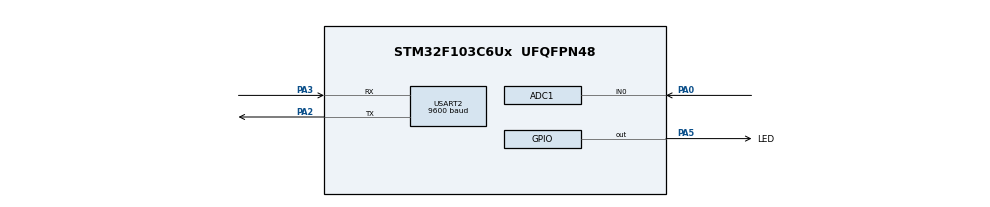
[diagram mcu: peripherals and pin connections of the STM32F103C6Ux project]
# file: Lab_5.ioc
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ADC1.Channel-1\#ChannelRegularConversion=ADC_CHANNEL_0
ADC1.ContinuousConvMode=ENABLE
ADC1.NbrOfConversionFlag=1
ADC1.Rank-1\#ChannelRegularConversion=1
ADC1.SamplingTime-1\#ChannelRegularConversion=ADC_SAMPLETIME_1CYCLE_5
ADC1.master=1
Mcu.Family=STM32F1
Mcu.Name=STM32F103C6Ux
Mcu.Package=UFQFPN48
NVIC.ADC1_2_IRQn=true\:0\:0\:false\:false\:true\:true\:true\:true
NVIC.PriorityGroup=NVIC_PRIORITYGROUP_4
NVIC.TIM2_IRQn=true\:0\:0\:false\:false\:true\:true\:true\:true
NVIC.USART2_IRQn=true\:0\:0\:false\:false\:true\:true\:true\:true
PA0-WKUP.Signal=ADCx_IN0
PA2.Mode=Asynchronous
PA2.Signal=USART2_TX
PA3.Mode=Asynchronous
PA3.Signal=USART2_RX
PA5.GPIO_Label=LED
PA5.Signal=GPIO_Output
ProjectManager.HeapSize=0x200
ProjectManager.StackSize=0x400
ProjectManager.TargetToolchain=STM32CubeIDE
RCC.APB1Freq_Value=8000000
RCC.APB2Freq_Value=8000000
SH.ADCx_IN0.0=ADC1_IN0,IN0
TIM2.Period=9
TIM2.Prescaler=7999
USART2.BaudRate=9600
USART2.VirtualMode=VM_ASYNC
VP_TIM2_VS_ClockSourceINT.Mode=Internal
board=custom

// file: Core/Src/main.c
/* USER CODE BEGIN Header */
/**
  ******************************************************************************
  * @file           : main.c
  * @brief          : Main program body
  ******************************************************************************
  * @attention
  *
  * Copyright (c) 2022 STMicroelectronics.
  * All rights reserved.
  *
  * This software is licensed under terms that can be found in the LICENSE file
  * in the root directory of this software component.
  * If no LICENSE file comes with this software, it is provided AS-IS.
  *
  ******************************************************************************
  */
/* USER CODE END Header */
#include "main.h"

/* USER CODE BEGIN Includes */
#include <stdio.h>
#include "uart_fsm.h"
#include "timer.h"
/* USER CODE END Includes */

ADC_HandleTypeDef hadc1;

TIM_HandleTypeDef htim2;

UART_HandleTypeDef huart2;

void SystemClock_Config(void);
static void MX_GPIO_Init(void);
static void MX_ADC1_Init(void);
static void MX_USART2_UART_Init(void);
static void MX_TIM2_Init(void);

/* USER CODE BEGIN 0 */

uint8_t temp;

void HAL_UART_RxCpltCallback(UART_HandleTypeDef * huart){
	if(huart->Instance == USART2){
//		HAL_UART_Transmit(&huart2, &temp, 1, 1000);
		previous_index_buffer = index_buffer;
		buffer[index_buffer++] = temp;

		if(index_buffer >= 30) index_buffer = 0;
		buffer_flag = 1;

		HAL_UART_Receive_IT(&huart2, &temp, 1);
	}
}

/* USER CODE END 0 */

int main(void)
{

  /* MCU Configuration--------------------------------------------------------*/

  /* Reset of all peripherals, Initializes the Flash interface and the Systick. */
  HAL_Init();

  /* Configure the system clock */
  SystemClock_Config();

  /* Initialize all configured peripherals */
  MX_GPIO_Init();
  MX_ADC1_Init();
  MX_USART2_UART_Init();
  MX_TIM2_Init();
  /* USER CODE BEGIN 2 */

    HAL_ADC_Start(&hadc1);
   	HAL_TIM_Base_Start_IT(&htim2);
	HAL_UART_Receive_IT(&huart2, &temp, 1);

	uart_fsm_init();
	SetTimer_0(3000);

		uint8_t str[50];

  /* USER CODE END 2 */

  /* Infinite loop */
  /* USER CODE BEGIN WHILE */
  while (1)
  {

	  if(buffer_flag == 1){
		  command_parser_fsm();
		  buffer_flag = 0;
	  }

	  if(FlagTimer_0()){
		  SetTimer_0(3000);
		  if(isReadADC_flag){
			  ADC_VALUE = HAL_ADC_GetValue(&hadc1);
			  isReadADC_flag = 0;
		  }
		  if(isSendADC_flag == 1){
			  HAL_UART_Transmit(&huart2, str, sprintf(str, "!ADC:%ld#", ADC_VALUE), 1000);
		  }
	  }

	  uart_communication_fsm();
    /* USER CODE END WHILE */

  }
}

void SystemClock_Config(void)
{
  RCC_OscInitTypeDef RCC_OscInitStruct = {0};
  RCC_ClkInitTypeDef RCC_ClkInitStruct = {0};
  RCC_PeriphCLKInitTypeDef PeriphClkInit = {0};

  /** Initializes the RCC Oscillators according to the specified parameters
  * in the RCC_OscInitTypeDef structure.
  */
  RCC_OscInitStruct.OscillatorType = RCC_OSCILLATORTYPE_HSI;
  RCC_OscInitStruct.HSIState = RCC_HSI_ON;
  RCC_OscInitStruct.HSICalibrationValue = RCC_HSICALIBRATION_DEFAULT;
  RCC_OscInitStruct.PLL.PLLState = RCC_PLL_NONE;
  if (HAL_RCC_OscConfig(&RCC_OscInitStruct) != HAL_OK)
  {
    Error_Handler();
  }

  /** Initializes the CPU, AHB and APB buses clocks
  */
  RCC_ClkInitStruct.ClockType = RCC_CLOCKTYPE_HCLK|RCC_CLOCKTYPE_SYSCLK
                              |RCC_CLOCKTYPE_PCLK1|RCC_CLOCKTYPE_PCLK2;
  RCC_ClkInitStruct.SYSCLKSource = RCC_SYSCLKSOURCE_HSI;
  RCC_ClkInitStruct.AHBCLKDivider = RCC_SYSCLK_DIV1;
  RCC_ClkInitStruct.APB1CLKDivider = RCC_HCLK_DIV1;
  RCC_ClkInitStruct.APB2CLKDivider = RCC_HCLK_DIV1;

  if (HAL_RCC_ClockConfig(&RCC_ClkInitStruct, FLASH_LATENCY_0) != HAL_OK)
  {
    Error_Handler();
  }
  PeriphClkInit.PeriphClockSelection = RCC_PERIPHCLK_ADC;
  PeriphClkInit.AdcClockSelection = RCC_ADCPCLK2_DIV2;
  if (HAL_RCCEx_PeriphCLKConfig(&PeriphClkInit) != HAL_OK)
  {
    Error_Handler();
  }
}

static void MX_ADC1_Init(void)
{

  ADC_ChannelConfTypeDef sConfig = {0};

  /** Common config
  */
  hadc1.Instance = ADC1;
  hadc1.Init.ScanConvMode = ADC_SCAN_DISABLE;
  hadc1.Init.ContinuousConvMode = ENABLE;
  hadc1.Init.DiscontinuousConvMode = DISABLE;
  hadc1.Init.ExternalTrigConv = ADC_SOFTWARE_START;
  hadc1.Init.DataAlign = ADC_DATAALIGN_RIGHT;
  hadc1.Init.NbrOfConversion = 1;
  if (HAL_ADC_Init(&hadc1) != HAL_OK)
  {
    Error_Handler();
  }

  /** Configure Regular Channel
  */
  sConfig.Channel = ADC_CHANNEL_0;
  sConfig.Rank = ADC_REGULAR_RANK_1;
  sConfig.SamplingTime = ADC_SAMPLETIME_1CYCLE_5;
  if (HAL_ADC_ConfigChannel(&hadc1, &sConfig) != HAL_OK)
  {
    Error_Handler();
  }

}

static void MX_TIM2_Init(void)
{

  TIM_ClockConfigTypeDef sClockSourceConfig = {0};
  TIM_MasterConfigTypeDef sMasterConfig = {0};

  htim2.Instance = TIM2;
  htim2.Init.Prescaler = 7999;
  htim2.Init.CounterMode = TIM_COUNTERMODE_UP;
  htim2.Init.Period = 9;
  htim2.Init.ClockDivision = TIM_CLOCKDIVISION_DIV1;
  htim2.Init.AutoReloadPreload = TIM_AUTORELOAD_PRELOAD_DISABLE;
  if (HAL_TIM_Base_Init(&htim2) != HAL_OK)
  {
    Error_Handler();
  }
  sClockSourceConfig.ClockSource = TIM_CLOCKSOURCE_INTERNAL;
  if (HAL_TIM_ConfigClockSource(&htim2, &sClockSourceConfig) != HAL_OK)
  {
    Error_Handler();
  }
  sMasterConfig.MasterOutputTrigger = TIM_TRGO_RESET;
  sMasterConfig.MasterSlaveMode = TIM_MASTERSLAVEMODE_DISABLE;
  if (HAL_TIMEx_MasterConfigSynchronization(&htim2, &sMasterConfig) != HAL_OK)
  {
    Error_Handler();
  }

}

static void MX_USART2_UART_Init(void)
{

  huart2.Instance = USART2;
  huart2.Init.BaudRate = 9600;
  huart2.Init.WordLength = UART_WORDLENGTH_8B;
  huart2.Init.StopBits = UART_STOPBITS_1;
  huart2.Init.Parity = UART_PARITY_NONE;
  huart2.Init.Mode = UART_MODE_TX_RX;
  huart2.Init.HwFlowCtl = UART_HWCONTROL_NONE;
  huart2.Init.OverSampling = UART_OVERSAMPLING_16;
  if (HAL_UART_Init(&huart2) != HAL_OK)
  {
    Error_Handler();
  }

}

static void MX_GPIO_Init(void)
{
  GPIO_InitTypeDef GPIO_InitStruct = {0};

  /* GPIO Ports Clock Enable */
  __HAL_RCC_GPIOA_CLK_ENABLE();

  /*Configure GPIO pin Output Level */
  HAL_GPIO_WritePin(LED_GPIO_Port, LED_Pin, GPIO_PIN_RESET);

  /*Configure GPIO pin : LED_Pin */
  GPIO_InitStruct.Pin = LED_Pin;
  GPIO_InitStruct.Mode = GPIO_MODE_OUTPUT_PP;
  GPIO_InitStruct.Pull = GPIO_NOPULL;
  GPIO_InitStruct.Speed = GPIO_SPEED_FREQ_LOW;
  HAL_GPIO_Init(LED_GPIO_Port, &GPIO_InitStruct);

}

void Error_Handler(void)
{
  __disable_irq();
  while (1)
  {
  }
}
